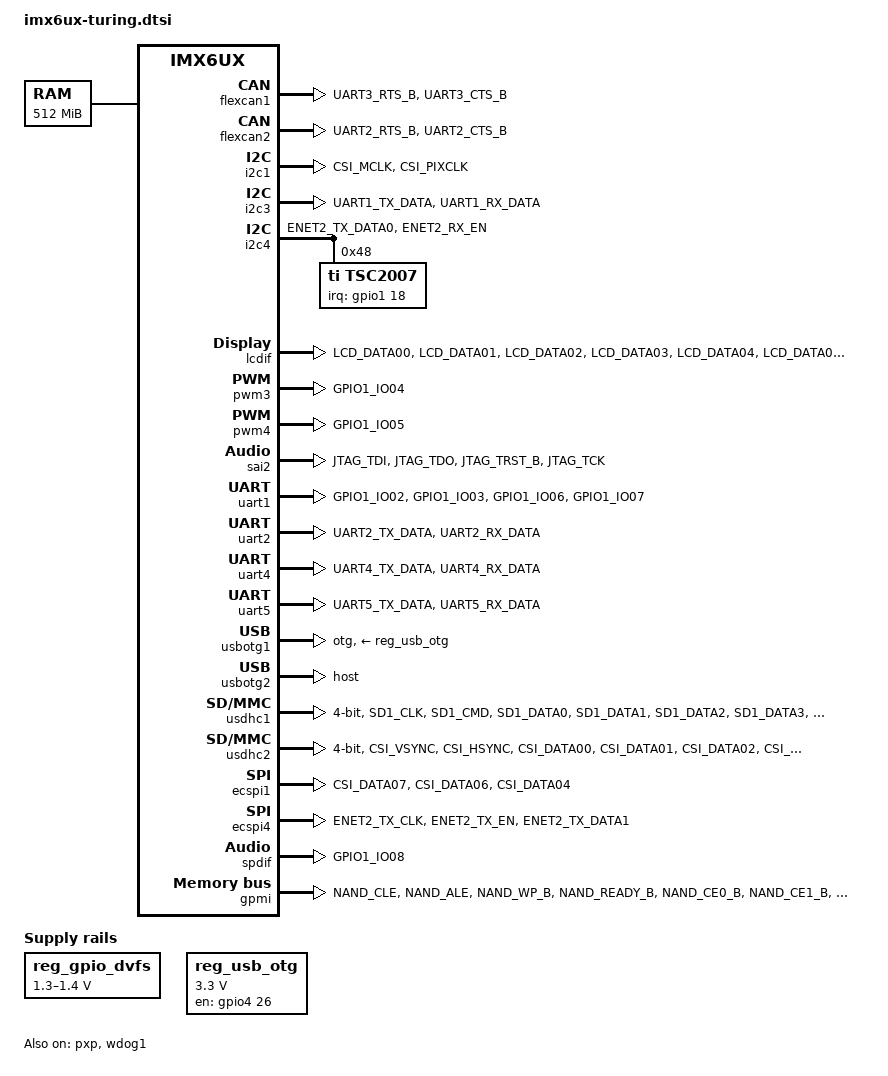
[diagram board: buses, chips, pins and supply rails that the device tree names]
/*
 * Copyright (C) 2017 Turing Computer.
 */

/ {
	memory {
		reg = <0x80000000 0x20000000>;
	};
	
	reserved-memory {
		#address-cells = <1>;
		#size-cells = <1>;
		ranges;

		linux,cma {
			compatible = "shared-dma-pool";
			reusable;
			size = <0x14000000>;
			linux,cma-default;
		};
	};
	
	regulators {
		compatible = "simple-bus";
		#address-cells = <1>;
		#size-cells = <0>;

		reg_gpio_dvfs: reg_gpio_dvfs {
			compatible = "regulator-gpio";
			pinctrl-names = "default";
			pinctrl-0 = <&pinctrl_dvfs>;
			regulator-min-microvolt = <1300000>;
			regulator-max-microvolt = <1400000>;
			regulator-name = "gpio_dvfs";
			regulator-type = "voltage";
			gpios = <&gpio5 3 GPIO_ACTIVE_HIGH>;
			states = <1300000 0x1 1400000 0x0>;
		};
		
		reg_usb_otg: reg_usb_otg {		
			compatible = "regulator-fixed";
			regulator-min-microvolt = <3300000>;
			regulator-max-microvolt = <3300000>;
			reg = <1>;
			regulator-name = "otg_pwr_en";
			gpio = <&gpio4 26 GPIO_ACTIVE_HIGH>;
			enable-active-high;
			regulator-off-in-suspend;
		};
	};
	
	sound-spdif {
		compatible = "fsl,imx-audio-spdif";
		model = "imx-spdif";
		spdif-controller = <&spdif>;
		spdif-out;
	};
	
};

&iomuxc {
	
	imx6ul-turing {

		pinctrl_flexcan1: flexcan1grp {
			fsl,pins = <
				MX6UL_PAD_UART3_RTS_B__FLEXCAN1_RX		0x1b020
				MX6UL_PAD_UART3_CTS_B__FLEXCAN1_TX		0x1b020
			>;
		};

		pinctrl_flexcan2: flexcan2grp {
			fsl,pins = <
				MX6UL_PAD_UART2_RTS_B__FLEXCAN2_RX		0x1b020
				MX6UL_PAD_UART2_CTS_B__FLEXCAN2_TX		0x1b020
			>;
		};
		
		pinctrl_i2c1: i2c1grp {
			fsl,pins = <
				MX6UL_PAD_CSI_MCLK__I2C1_SDA 			0x4001b8b0
				MX6UL_PAD_CSI_PIXCLK__I2C1_SCL 			0x4001b8b0
			>;
		};
		
		pinctrl_i2c3: i2c3grp {
			fsl,pins = <
				MX6UL_PAD_UART1_TX_DATA__I2C3_SCL 		0x4001b8b0
				MX6UL_PAD_UART1_RX_DATA__I2C3_SDA 		0x4001b8b0
			>;
		};
		
		pinctrl_i2c4: i2c4grp {
			fsl,pins = <
				MX6UL_PAD_ENET2_TX_DATA0__I2C4_SDA 		0x4001b8b0
				MX6UL_PAD_ENET2_RX_EN__I2C4_SCL 		0x4001b8b0
			>;
		};
		
		pinctrl_lcdif: lcdifgrp {
			fsl,pins = <
				MX6UL_PAD_LCD_DATA00__LCDIF_DATA00  	0x79
				MX6UL_PAD_LCD_DATA01__LCDIF_DATA01  	0x79
				MX6UL_PAD_LCD_DATA02__LCDIF_DATA02  	0x79
				MX6UL_PAD_LCD_DATA03__LCDIF_DATA03  	0x79
				MX6UL_PAD_LCD_DATA04__LCDIF_DATA04  	0x79
				MX6UL_PAD_LCD_DATA05__LCDIF_DATA05  	0x79
				MX6UL_PAD_LCD_DATA06__LCDIF_DATA06  	0x79
				MX6UL_PAD_LCD_DATA07__LCDIF_DATA07  	0x79
				MX6UL_PAD_LCD_DATA08__LCDIF_DATA08  	0x79
				MX6UL_PAD_LCD_DATA09__LCDIF_DATA09  	0x79
				MX6UL_PAD_LCD_DATA10__LCDIF_DATA10  	0x79
				MX6UL_PAD_LCD_DATA11__LCDIF_DATA11  	0x79
				MX6UL_PAD_LCD_DATA12__LCDIF_DATA12  	0x79
				MX6UL_PAD_LCD_DATA13__LCDIF_DATA13  	0x79
				MX6UL_PAD_LCD_DATA14__LCDIF_DATA14  	0x79
				MX6UL_PAD_LCD_DATA15__LCDIF_DATA15  	0x79
				MX6UL_PAD_LCD_DATA16__LCDIF_DATA16  	0x79
				MX6UL_PAD_LCD_DATA17__LCDIF_DATA17  	0x79
				MX6UL_PAD_LCD_DATA18__LCDIF_DATA18  	0x79
				MX6UL_PAD_LCD_DATA19__LCDIF_DATA19  	0x79
				MX6UL_PAD_LCD_DATA20__LCDIF_DATA20  	0x79
				MX6UL_PAD_LCD_DATA21__LCDIF_DATA21  	0x79
				MX6UL_PAD_LCD_DATA22__LCDIF_DATA22  	0x79
				MX6UL_PAD_LCD_DATA23__LCDIF_DATA23  	0x79
				MX6UL_PAD_LCD_CLK__LCDIF_CLK	    	0x79
				MX6UL_PAD_LCD_ENABLE__LCDIF_ENABLE  	0x79
				MX6UL_PAD_LCD_HSYNC__LCDIF_HSYNC    	0x79
				MX6UL_PAD_LCD_VSYNC__LCDIF_VSYNC    	0x79
			>;
		};
		
		pinctrl_pwm3: pwm3grp {
			fsl,pins = <
				MX6UL_PAD_GPIO1_IO04__PWM3_OUT   		0x110b0
			>;
		};
		
		pinctrl_pwm4: pwm4grp {
			fsl,pins = <
				MX6UL_PAD_GPIO1_IO05__PWM4_OUT   		0x110b0
			>;
		};
		
		pinctrl_sai2: sai2grp {
			fsl,pins = <
				MX6UL_PAD_JTAG_TDI__SAI2_TX_BCLK		0x17088
				MX6UL_PAD_JTAG_TDO__SAI2_TX_SYNC		0x17088
				MX6UL_PAD_JTAG_TRST_B__SAI2_TX_DATA		0x11088
				MX6UL_PAD_JTAG_TCK__SAI2_RX_DATA		0x11088
			>;
		};

		pinctrl_uart1: uart1grp {
			fsl,pins = <
				MX6UL_PAD_GPIO1_IO02__UART1_DCE_TX		0x1b0b1
				MX6UL_PAD_GPIO1_IO03__UART1_DCE_RX		0x1b0b1
				MX6UL_PAD_GPIO1_IO06__UART1_DCE_CTS		0x1b0b1
				MX6UL_PAD_GPIO1_IO07__UART1_DCE_RTS		0x1b0b1
			>;
		};
		
		pinctrl_uart2: uart2grp {
			fsl,pins = <
				MX6UL_PAD_UART2_TX_DATA__UART2_DCE_TX 	0x1b0b1
				MX6UL_PAD_UART2_RX_DATA__UART2_DCE_RX 	0x1b0b1
			>;
		};
		
		pinctrl_uart4: uart4grp {
			fsl,pins = <
				MX6UL_PAD_UART4_TX_DATA__UART4_DCE_TX 	0x1b0b1
				MX6UL_PAD_UART4_RX_DATA__UART4_DCE_RX 	0x1b0b1
			>;
		};
		
		pinctrl_uart5: uart5grp {
			fsl,pins = <
				MX6UL_PAD_UART5_TX_DATA__UART5_DCE_TX 	0x1b0b1
				MX6UL_PAD_UART5_RX_DATA__UART5_DCE_RX 	0x1b0b1
			>;
		};
		
		pinctrl_usdhc1: usdhc1grp {
			fsl,pins = <
				MX6UL_PAD_SD1_CLK__USDHC1_CLK     		0x10071
				MX6UL_PAD_SD1_CMD__USDHC1_CMD     		0x17059
				MX6UL_PAD_SD1_DATA0__USDHC1_DATA0 		0x17059
				MX6UL_PAD_SD1_DATA1__USDHC1_DATA1 		0x17059
				MX6UL_PAD_SD1_DATA2__USDHC1_DATA2 		0x17059
				MX6UL_PAD_SD1_DATA3__USDHC1_DATA3 		0x17059
			>;
		};
		
		pinctrl_usdhc2: usdhc2grp {
			fsl,pins = <
				MX6UL_PAD_CSI_VSYNC__USDHC2_CLK     	0x10071
				MX6UL_PAD_CSI_HSYNC__USDHC2_CMD     	0x17059
				MX6UL_PAD_CSI_DATA00__USDHC2_DATA0 		0x17059
				MX6UL_PAD_CSI_DATA01__USDHC2_DATA1 		0x17059
				MX6UL_PAD_CSI_DATA02__USDHC2_DATA2 		0x17059
				MX6UL_PAD_CSI_DATA03__USDHC2_DATA3 		0x17059
			>;
		};
		
		pinctrl_spdif: spdifgrp {
			fsl,pins = <
				MX6UL_PAD_GPIO1_IO08__SPDIF_OUT 		0x1b0b0
			>;
		};
		
		pinctrl_ecspi1: ecspi1grp {
			fsl,pins = <
				MX6UL_PAD_CSI_DATA07__ECSPI1_MISO		0x100b1
				MX6UL_PAD_CSI_DATA06__ECSPI1_MOSI		0x100b1
				MX6UL_PAD_CSI_DATA04__ECSPI1_SCLK		0x100b1
			>;
		};
		
		pinctrl_ecspi4: ecspi4grp {
			fsl,pins = <
				MX6UL_PAD_ENET2_TX_CLK__ECSPI4_MISO		0x100b1
				MX6UL_PAD_ENET2_TX_EN__ECSPI4_MOSI		0x100b1
				MX6UL_PAD_ENET2_TX_DATA1__ECSPI4_SCLK	0x100b1
			>;
		};
		
		pinctrl_gpmi_nand: nandgrp {
			fsl,pins = <
				MX6UL_PAD_NAND_CLE__RAWNAND_CLE         0xb0b1
				MX6UL_PAD_NAND_ALE__RAWNAND_ALE         0xb0b1
				MX6UL_PAD_NAND_WP_B__RAWNAND_WP_B       0xb0b1
				MX6UL_PAD_NAND_READY_B__RAWNAND_READY_B 0xb000
				MX6UL_PAD_NAND_CE0_B__RAWNAND_CE0_B     0xb0b1
				MX6UL_PAD_NAND_CE1_B__RAWNAND_CE1_B     0xb0b1
				MX6UL_PAD_NAND_RE_B__RAWNAND_RE_B       0xb0b1
				MX6UL_PAD_NAND_WE_B__RAWNAND_WE_B       0xb0b1
				MX6UL_PAD_NAND_DATA00__RAWNAND_DATA00   0xb0b1
				MX6UL_PAD_NAND_DATA01__RAWNAND_DATA01   0xb0b1
				MX6UL_PAD_NAND_DATA02__RAWNAND_DATA02   0xb0b1
				MX6UL_PAD_NAND_DATA03__RAWNAND_DATA03   0xb0b1
				MX6UL_PAD_NAND_DATA04__RAWNAND_DATA04   0xb0b1
				MX6UL_PAD_NAND_DATA05__RAWNAND_DATA05   0xb0b1
				MX6UL_PAD_NAND_DATA06__RAWNAND_DATA06   0xb0b1
				MX6UL_PAD_NAND_DATA07__RAWNAND_DATA07   0xb0b1
			>;
		};
		
		pinctrl_wdog: wdoggrp {
			fsl,pins = <
				MX6UL_PAD_LCD_RESET__WDOG1_WDOG_ANY   0x30b0
			>;
		};
		
	};
};

&cpu0 {
	arm-supply = <&reg_arm>;
	soc-supply = <&reg_soc>;
	dc-supply = <&reg_gpio_dvfs>;
};

&clks {
	assigned-clocks = <&clks IMX6UL_CLK_PLL4_AUDIO_DIV>;
	assigned-clock-rates = <786432000>;
};

&csi {
	status = "disabled";
};

&flexcan1 {
	pinctrl-names = "default";
	pinctrl-0 = <&pinctrl_flexcan1>;
	status = "okay";
};

&flexcan2 {
	pinctrl-names = "default";
	pinctrl-0 = <&pinctrl_flexcan2>;
	status = "okay";
};

&gpc {
	fsl,cpu_pupscr_sw2iso = <0x2>;
	fsl,cpu_pupscr_sw = <0x1>;
	fsl,cpu_pdnscr_iso2sw = <0x1>;
	fsl,cpu_pdnscr_iso = <0x1>;
	fsl,ldo-bypass = <1>; /* use ldo-bypass, u-boot will check it and configure */
};

&i2c1 {
	clock_frequency = <100000>;
	pinctrl-names = "default";
	pinctrl-0 = <&pinctrl_i2c1>;
	status = "okay";
	
};

&i2c3 {
	clock_frequency = <100000>;
	pinctrl-names = "default";
	pinctrl-0 = <&pinctrl_i2c3>;
	status = "okay";
	
};

&i2c4 {
	clock_frequency = <100000>;
	pinctrl-names = "default";
	pinctrl-0 = <&pinctrl_i2c4>;
	status = "okay";
	
	tsc2007@48 {
		compatible = "ti,tsc2007";
		reg = <0x48>;
		interrupt-parent = <&gpio1>;
		interrupts = <18 0>;
		ti,x-plate-ohms = <400>;
	};
	
};

&lcdif {
	pinctrl-names = "default";
	pinctrl-0 = <&pinctrl_lcdif>;
	status = "okay";
};

&pwm3 {
	pinctrl-names = "default";
	pinctrl-0 = <&pinctrl_pwm3>;
	status = "okay";
};

&pwm4 {
	pinctrl-names = "default";
	pinctrl-0 = <&pinctrl_pwm4>;
	status = "okay";
};

&pxp {
	status = "okay";
};

&sai2 {
	pinctrl-names = "default";
	pinctrl-0 = <&pinctrl_sai2>;
	assigned-clocks = <&clks IMX6UL_CLK_SAI2_SEL>, <&clks IMX6UL_CLK_SAI2>;
	assigned-clock-parents = <&clks IMX6UL_CLK_PLL4_AUDIO_DIV>;
	assigned-clock-rates = <0>, <12288000>;

	status = "okay";
};

&uart1 {
	pinctrl-names = "default";
	pinctrl-0 = <&pinctrl_uart1>;
	fsl,uart-has-rtscts;
	status = "okay";
};

&uart2 {
	pinctrl-names = "default";
	pinctrl-0 = <&pinctrl_uart2>;
	status = "okay";
};

&uart4 {
	pinctrl-names = "default";
	pinctrl-0 = <&pinctrl_uart4>;
	status = "okay";
};

&uart5 {
	pinctrl-names = "default";
	pinctrl-0 = <&pinctrl_uart5>;
	status = "okay";
};

&usbotg1 {
	dr_mode = "otg";
	srp-disable;
	hnp-disable;
	adp-disable;
	status = "okay";
	vbus-supply = <&reg_usb_otg>;
};

&usbotg2 {
	dr_mode = "host";
	disable-over-current;
	status = "okay";
};

&usbphy1 {
	tx-d-cal = <0x5>;
};

&usbphy2 {
	tx-d-cal = <0x5>;
};

&usdhc1 {
	pinctrl-names = "default";
	pinctrl-0 = <&pinctrl_usdhc1>;
	bus-width = <4>;
	cd-gpios = <&gpio3 4 GPIO_ACTIVE_LOW>;
	wp-gpios = <&gpio2 15 GPIO_ACTIVE_HIGH>;
	keep-power-in-suspend;
	enable-sdio-wakeup;
	no-1-8-v;
	status = "okay";
};

&usdhc2 {
	pinctrl-names = "default";
	pinctrl-0 = <&pinctrl_usdhc2>;
	bus-width = <4>;
	status = "okay";
};

&ecspi1 {
	pinctrl-names = "default";
	pinctrl-0 = <&pinctrl_ecspi1>;
	status = "okay";
};

&ecspi4 {
	pinctrl-names = "default";
	pinctrl-0 = <&pinctrl_ecspi4>;
	status = "okay";
};

&spdif {
	pinctrl-names = "default";
	pinctrl-0 = <&pinctrl_spdif>;
	assigned-clocks = <&clks IMX6UL_CLK_SPDIF_SEL>, <&clks IMX6UL_CLK_SPDIF_PODF>;
	assigned-clock-parents = <&clks IMX6UL_CLK_PLL4_AUDIO_DIV>;
	assigned-clock-rates = <0>, <98304000>;
	status = "okay";
};

&gpmi {
	pinctrl-names = "default";
	pinctrl-0 = <&pinctrl_gpmi_nand>;
	status = "okay";
	nand-on-flash-bbt;
};

&wdog1 {
	pinctrl-names = "default";
	pinctrl-0 = <&pinctrl_wdog>;
	fsl,wdog_b;
	status = "okay";
};

